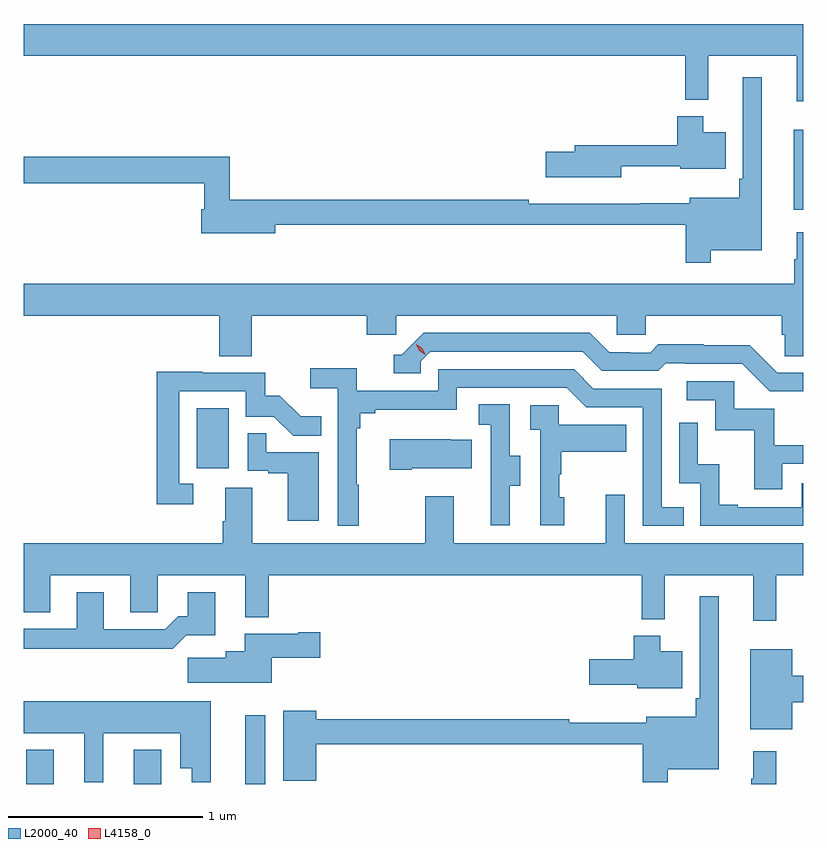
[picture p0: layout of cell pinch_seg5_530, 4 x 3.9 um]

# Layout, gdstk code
import gdstk
lib = gdstk.Library(unit=1e-6, precision=1e-09)
def R(c, l, rs):  # rectangles x0, y0, x1, y1
    for r in rs: c.add(gdstk.rectangle(r[:2], r[2:], *l))
def P(c, l, *ps):  # polygons
    for p in ps: c.add(gdstk.Polygon(p, *l))
L2000_40 = (2000, 40)
L4158_0 = (4158, 0)

pinch_seg5_530 = lib.new_cell('pinch_seg5_530')
R(pinch_seg5_530, L2000_40, [(1007.825,837.041,1007.965,837.217), (1008.377,837.041,1008.517,837.217), (1008.947,837.041,1009.051,837.394), (1008.698,838.662,1008.862,838.969), (1011.761,839.987,1011.811,840.397)])
P(pinch_seg5_530, L2000_40, [(1011.811,840.94),(1007.811,840.94),(1007.811,840.776),(1011.205,840.776),(1011.205,840.551),(1011.323,840.551),(1011.323,840.776),(1011.776,840.776),(1011.776,840.543),(1011.811,840.543)],
  [(1011.337,839.78),(1011.598,839.78),(1011.598,840.667),(1011.501,840.667),(1011.501,840.145),(1011.481,840.145),(1011.481,840.049),(1011.227,840.049),(1011.227,840.02),(1010.974,840.02),(1010.974,840.019),(1010.402,840.019),(1010.402,840.038),(1008.869,840.038),(1008.869,840.26),(1007.811,840.26),(1007.811,840.124),(1008.737,840.124),(1008.737,839.989),(1008.722,839.989),(1008.722,839.867),(1009.102,839.867),(1009.102,839.91),(1011.208,839.91),(1011.208,839.715),(1011.337,839.715)],
  [(1010.878,840.209),(1011.18,840.209),(1011.18,840.197),(1011.412,840.197),(1011.412,840.385),(1011.298,840.385),(1011.298,840.466),(1011.164,840.466),(1011.164,840.319),(1010.639,840.319),(1010.639,840.285),(1010.49,840.285),(1010.49,840.155),(1010.878,840.155)],
  [(1008.98,839.444),(1009.571,839.444),(1009.571,839.346),(1009.722,839.346),(1009.722,839.444),(1010.853,839.444),(1010.853,839.346),(1011.003,839.346),(1011.003,839.444),(1011.701,839.444),(1011.701,839.346),(1011.715,839.346),(1011.715,839.236),(1011.811,839.236),(1011.811,839.872),(1011.776,839.872),(1011.776,839.732),(1011.765,839.732),(1011.765,839.608),(1007.811,839.608),(1007.811,839.444),(1008.815,839.444),(1008.815,839.236),(1008.98,839.236)],
  [(1011.811,839.151),(1011.678,839.151),(1011.536,839.293),(1011.3,839.293),(1011.3,839.296),(1011.067,839.296),(1011.025,839.253),(1010.922,839.253),(1010.922,839.256),(1010.815,839.256),(1010.716,839.355),(1009.863,839.355),(1009.752,839.244),(1009.709,839.244),(1009.709,839.148),(1009.848,839.148),(1009.848,839.211),(1009.896,839.259),(1010.679,839.259),(1010.778,839.16),(1011.067,839.16),(1011.106,839.199),(1011.205,839.199),(1011.205,839.196),(1011.498,839.196),(1011.639,839.055),(1011.811,839.055)],
  [(1009.531,838.577),(1009.519,838.577),(1009.519,838.865),(1009.538,838.865),(1009.538,838.942),(1009.615,838.942),(1009.615,838.961),(1010.034,838.961),(1010.034,839.073),(1010.598,839.073),(1010.697,838.974),(1010.988,838.974),(1010.988,838.365),(1011.197,838.365),(1011.197,838.461),(1011.084,838.461),(1011.084,839.07),(1010.734,839.07),(1010.635,839.169),(1009.938,839.169),(1009.938,839.058),(1009.52,839.058),(1009.52,839.174),(1009.281,839.174),(1009.281,839.072),(1009.422,839.072),(1009.422,838.365),(1009.531,838.365)],
  [(1008.682,838.581),(1008.609,838.581),(1008.609,839.055),(1008.951,839.055),(1008.951,838.926),(1009.095,838.926),(1009.193,838.828),(1009.337,838.828),(1009.337,838.927),(1009.233,838.927),(1009.126,839.034),(1009.05,839.034),(1009.05,839.151),(1008.731,839.151),(1008.731,839.156),(1008.493,839.156),(1008.493,838.476),(1008.682,838.476)],
  [(1011.703,838.683),(1011.811,838.683),(1011.811,838.779),(1011.661,838.779),(1011.661,838.965),(1011.456,838.965),(1011.456,839.106),(1011.213,839.106),(1011.213,839.01),(1011.36,839.01),(1011.36,838.857),(1011.559,838.857),(1011.559,838.554),(1011.703,838.554)],
  [(1010.305,838.57),(1010.359,838.57),(1010.359,838.725),(1010.304,838.725),(1010.304,838.988),(1010.145,838.988),(1010.145,838.885),(1010.208,838.885),(1010.208,838.581),(1010.207,838.581),(1010.207,838.368),(1010.305,838.368)],
  [(1010.584,838.512),(1010.559,838.512),(1010.559,838.631),(1010.569,838.631),(1010.569,838.745),(1010.903,838.745),(1010.903,838.885),(1010.556,838.885),(1010.556,838.983),(1010.409,838.983),(1010.409,838.859),(1010.46,838.859),(1010.46,838.368),(1010.584,838.368)],
  [(1011.811,838.584),(1011.804,838.584),(1011.804,838.461),(1011.475,838.461),(1011.475,838.474),(1011.38,838.474),(1011.38,838.682),(1011.27,838.682),(1011.27,838.894),(1011.174,838.894),(1011.174,838.584),(1011.282,838.584),(1011.282,838.365),(1011.811,838.365)],
  [(1009.324,838.743),(1009.055,838.743),(1009.055,838.841),(1008.96,838.841),(1008.96,838.647),(1009.067,838.647),(1009.067,838.635),(1009.166,838.635),(1009.166,838.392),(1009.324,838.392)],
  [(1009.801,838.661),(1010.111,838.661),(1010.111,838.807),(1010.003,838.807),(1010.003,838.81),(1009.689,838.81),(1009.689,838.654),(1009.801,838.654)],
  [(1011.671,838.112),(1011.811,838.112),(1011.811,838.276),(1010.895,838.276),(1010.895,838.525),(1010.798,838.525),(1010.798,838.276),(1010.017,838.276),(1010.017,838.516),(1009.87,838.516),(1009.87,838.276),(1008.985,838.276),(1008.985,838.562),(1008.845,838.562),(1008.845,838.388),(1008.833,838.388),(1008.833,838.276),(1007.811,838.276),(1007.811,837.922),(1007.947,837.922),(1007.947,838.112),(1008.359,838.112),(1008.359,837.922),(1008.498,837.922),(1008.498,838.112),(1008.947,838.112),(1008.947,837.896),(1009.069,837.896),(1009.069,838.112),(1010.983,838.112),(1010.983,837.887),(1011.101,837.887),(1011.101,838.112),(1011.554,838.112),(1011.554,837.879),(1011.671,837.879)],
  [(1008.644,837.803),(1008.793,837.803),(1008.793,838.024),(1008.653,838.024),(1008.653,837.901),(1008.604,837.901),(1008.537,837.834),(1008.223,837.834),(1008.223,838.024),(1008.083,838.024),(1008.083,837.837),(1007.811,837.837),(1007.811,837.736),(1008.319,837.736),(1008.319,837.734),(1008.575,837.734)],
  [(1011.115,837.116),(1011.376,837.116),(1011.376,838.003),(1011.279,838.003),(1011.279,837.481),(1011.259,837.481),(1011.259,837.385),(1011.005,837.385),(1011.005,837.356),(1010.609,837.356),(1010.609,837.374),(1009.313,837.374),(1009.313,837.418),(1009.142,837.418),(1009.142,837.057),(1009.313,837.057),(1009.313,837.246),(1010.986,837.246),(1010.986,837.051),(1011.115,837.051)],
  [(1009.084,837.689),(1009.333,837.689),(1009.333,837.819),(1009.22,837.819),(1009.22,837.811),(1008.944,837.811),(1008.944,837.721),(1008.848,837.721),(1008.848,837.689),(1008.654,837.689),(1008.654,837.56),(1009.084,837.56)],
  [(1011.19,837.721),(1011.076,837.721),(1011.076,837.802),(1010.942,837.802),(1010.942,837.681),(1010.712,837.681),(1010.712,837.551),(1010.958,837.551),(1010.958,837.533),(1011.19,837.533)],
  [(1011.754,837.46),(1011.811,837.46),(1011.811,837.596),(1011.754,837.596),(1011.754,837.733),(1011.539,837.733),(1011.539,837.323),(1011.754,837.323)],
  [(1008.22,837.302),(1008.614,837.302),(1008.614,837.122),(1008.674,837.122),(1008.674,837.051),(1008.771,837.051),(1008.771,837.466),(1007.811,837.466),(1007.811,837.302),(1008.122,837.302),(1008.122,837.051),(1008.22,837.051)],
  [(1011.671,837.208),(1011.554,837.208),(1011.554,837.068),(1011.543,837.068),(1011.543,837.041),(1011.671,837.041)])
P(pinch_seg5_530, L4158_0, [(1009.871,839.244),(1009.84,839.263),(1009.824,839.296),(1009.824,839.296),(1009.824,839.296),(1009.855,839.277),(1009.871,839.244),(1009.871,839.244)])

lib.write_gds('pinch_seg5_530.gds')
